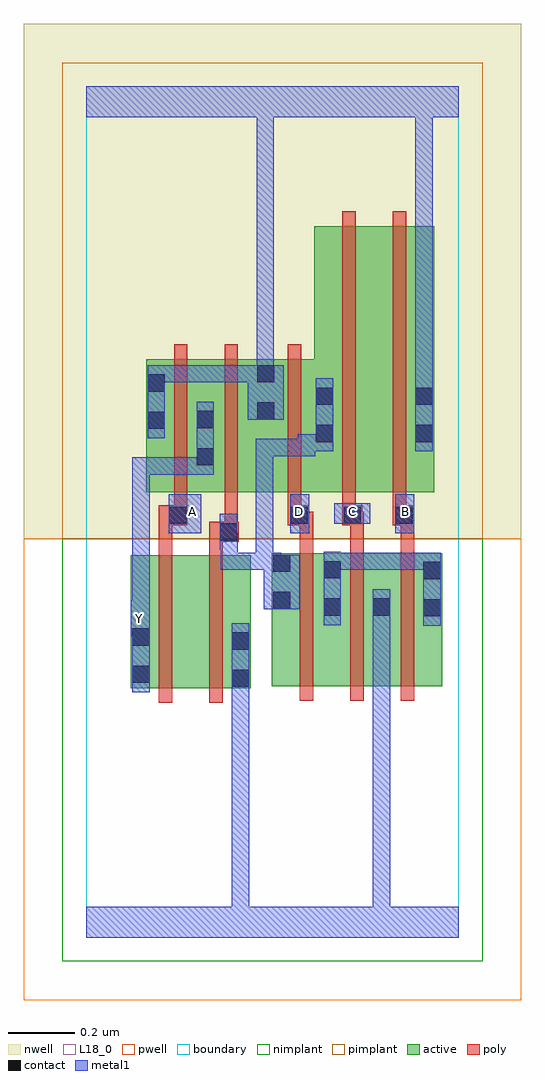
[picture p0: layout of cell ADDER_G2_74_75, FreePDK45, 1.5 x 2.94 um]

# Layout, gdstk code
import gdstk
lib = gdstk.Library(unit=1e-6, precision=1e-09)
def R(c, l, rs):  # rectangles x0, y0, x1, y1
    for r in rs: c.add(gdstk.rectangle(r[:2], r[2:], *l))
def A(c, l, x, y, w, h, nx, ny, dx, dy):  # array of equal rectangles
    R(c, l, [(x+i*dx, y+j*dy, x+i*dx+w, y+j*dy+h) for i in range(nx) for j in range(ny)])
active = (1, 0)
pwell = (2, 0)
nwell = (3, 0)
nimplant = (4, 0)
pimplant = (5, 0)
poly = (9, 0)
contact = (10, 0)
metal1 = (11, 0)
L18_0 = (18, 0)
boundary = (235, 0)

adder_g2_74_75 = lib.new_cell('ADDER_G2_74_75')
R(adder_g2_74_75, active, [(0.134,0.75,0.194,1.15), (0.134,0.75,0.314,1.15), (0.314,0.75,0.494,1.15), (0.434,0.75,0.494,1.15), (0.558,0.756,0.618,1.156), (0.558,0.756,0.77,1.156), (0.71,0.756,0.77,1.156), (0.71,0.756,0.918,1.156), (0.858,0.756,0.918,1.156), (0.858,0.756,1.07,1.156), (1.01,0.756,1.07,1.156), (0.18,1.34,0.24,1.74), (0.18,1.34,0.388,1.74), (0.328,1.34,0.57,1.74), (0.51,1.34,0.57,1.74), (0.51,1.34,0.746,1.74), (0.686,1.34,0.866,2.14), (0.686,1.34,0.746,1.888), (0.866,1.34,1.046,2.14), (0.986,1.34,1.046,2.044), (0.328,1.416,0.388,1.644)])
R(adder_g2_74_75, pwell, [(-0.188,-0.188,1.308,1.2)])
R(adder_g2_74_75, nwell, [(-0.188,1.2,1.308,2.748)])
R(adder_g2_74_75, nimplant, [(-0.072,-0.072,1.192,1.2)])
R(adder_g2_74_75, pimplant, [(-0.072,1.2,1.192,2.632)])
A(adder_g2_74_75, poly, 0.642, 0.712, 0.04, 0.488, 3, 1, 0.152, 0)
A(adder_g2_74_75, poly, 0.642, 1.16, 0.04, 0.12, 3, 1, 0.152, 0)
R(adder_g2_74_75, poly, [(0.218,0.706,0.258,1.194), (0.37,0.706,0.41,1.194), (0.218,1.154,0.258,1.28), (0.37,1.154,0.41,1.23), (0.37,1.19,0.458,1.25), (0.416,1.21,0.456,1.25), (0.416,1.21,0.456,1.25), (0.416,1.21,0.456,1.336), (0.218,1.24,0.304,1.3), (0.606,1.24,0.67,1.3), (0.63,1.24,0.67,1.28), (0.63,1.24,0.682,1.28), (0.77,1.24,0.83,1.3), (0.79,1.24,0.83,1.28), (0.79,1.24,0.834,1.28), (0.922,1.24,0.986,1.3), (0.946,1.24,0.986,1.28), (0.946,1.24,0.986,1.28), (0.264,1.26,0.304,1.336), (0.264,1.26,0.304,1.3), (0.264,1.26,0.304,1.3), (0.606,1.26,0.646,1.336), (0.77,1.26,0.81,1.336), (0.922,1.26,0.962,1.336), (0.264,1.296,0.304,1.784), (0.416,1.296,0.456,1.784), (0.606,1.296,0.646,1.784), (0.77,1.296,0.81,2.184), (0.922,1.296,0.962,2.184)])
R(adder_g2_74_75, contact, [(0.438,0.754,0.49,0.806), (0.138,0.766,0.19,0.818), (0.438,0.866,0.49,0.918), (0.138,0.878,0.19,0.93), (1.014,0.966,1.066,1.018), (0.714,0.968,0.766,1.02), (0.862,0.968,0.914,1.02), (0.562,0.988,0.614,1.04), (1.014,1.078,1.066,1.13), (0.714,1.08,0.766,1.132), (0.562,1.1,0.614,1.152), (0.402,1.194,0.454,1.246), (0.248,1.244,0.3,1.296), (0.614,1.244,0.666,1.296), (0.774,1.244,0.826,1.296), (0.93,1.244,0.982,1.296), (0.332,1.42,0.384,1.472), (0.69,1.49,0.742,1.542), (0.99,1.49,1.042,1.542), (0.184,1.53,0.236,1.582), (0.332,1.532,0.384,1.584), (0.514,1.558,0.566,1.61), (0.69,1.602,0.742,1.654), (0.99,1.602,1.042,1.654), (0.184,1.642,0.236,1.694), (0.514,1.67,0.566,1.722)])
A(adder_g2_74_75, metal1, 0.746, 1.106, 0.052, 0.052, 3, 1, 0.134, 0)
R(adder_g2_74_75, metal1, [(0,0,1.12,0.092), (0.438,0.04,0.49,0.092), (0.438,0.04,0.49,0.092), (0.438,0.04,0.49,0.092), (0.438,0.04,0.49,0.092), (0.438,0.04,0.49,0.092), (0.438,0.04,0.49,0.092), (0.438,0.04,0.49,0.778), (0.862,0.04,0.914,0.092), (0.862,0.04,0.914,0.092), (0.862,0.04,0.914,0.092), (0.862,0.04,0.914,0.092), (0.862,0.04,0.914,0.092), (0.862,0.04,0.914,0.092), (0.862,0.04,0.914,0.992), (0.438,0.726,0.49,0.778), (0.438,0.726,0.49,0.778), (0.438,0.726,0.49,0.778), (0.438,0.726,0.49,0.778), (0.438,0.726,0.49,0.778), (0.438,0.726,0.49,0.778), (0.438,0.726,0.49,0.946), (0.138,0.738,0.19,0.958), (0.134,0.906,0.19,1.014), (0.138,0.906,0.19,0.958), (1.014,0.938,1.066,1.158), (0.714,0.94,0.766,1.16), (0.862,0.94,0.914,0.992), (0.862,0.94,0.914,0.992), (0.862,0.94,0.914,0.992), (0.862,0.94,0.914,0.992), (0.862,0.94,0.914,0.992), (0.862,0.94,0.914,0.992), (0.862,0.94,0.914,1.048), (0.138,0.962,0.19,1.444), (0.534,0.988,0.642,1.152), (0.534,1.1,0.586,1.158), (0.404,1.106,0.562,1.158), (0.404,1.106,0.456,1.218), (0.51,1.106,0.562,1.5), (0.51,1.106,0.586,1.158), (0.714,1.106,0.798,1.158), (0.746,1.106,0.932,1.158), (0.88,1.106,1.066,1.158), (1.014,1.106,1.066,1.158), (0.402,1.166,0.454,1.274), (0.402,1.166,0.456,1.218), (0.248,1.216,0.346,1.334), (0.614,1.216,0.67,1.334), (0.93,1.216,0.986,1.334), (0.746,1.244,0.854,1.306), (0.138,1.392,0.19,1.444), (0.138,1.392,0.19,1.444), (0.138,1.392,0.19,1.444), (0.138,1.392,0.19,1.444), (0.138,1.392,0.19,1.444), (0.138,1.392,0.384,1.444), (0.332,1.392,0.384,1.612), (0.51,1.448,0.562,1.5), (0.51,1.448,0.562,1.5), (0.51,1.448,0.562,1.5), (0.51,1.448,0.688,1.5), (0.636,1.448,0.688,1.514), (0.636,1.462,0.742,1.514), (0.69,1.462,0.742,1.682), (0.99,1.462,1.042,1.682), (0.184,1.502,0.236,1.722), (0.486,1.558,0.594,1.722), (0.99,1.63,1.042,1.682), (0.99,1.63,1.042,1.682), (0.99,1.63,1.042,1.682), (0.99,1.63,1.042,1.682), (0.99,1.63,1.042,2.52), (0.184,1.67,0.236,1.722), (0.184,1.67,0.236,1.722), (0.184,1.67,0.346,1.722), (0.294,1.67,0.346,1.722), (0.294,1.67,0.346,1.722), (0.294,1.67,0.346,1.722), (0.294,1.67,0.538,1.722), (0.512,1.67,0.564,1.722), (0.512,1.67,0.564,1.722), (0.512,1.67,0.564,1.722), (0.512,1.67,0.564,1.722), (0.512,1.67,0.564,1.722), (0.512,1.67,0.564,1.722), (0.512,1.67,0.564,1.722), (0.512,1.67,0.564,1.722), (0.512,1.67,0.564,1.722), (0.512,1.67,0.564,1.722), (0.512,1.67,0.564,1.722), (0.512,1.67,0.564,1.722), (0.512,1.67,0.564,1.722), (0.512,1.67,0.564,1.722), (0.512,1.67,0.564,2.52), (0,2.468,1.12,2.56), (0.512,2.468,0.564,2.52), (0.512,2.468,0.564,2.52), (0.99,2.468,1.042,2.52), (0.99,2.468,1.042,2.52), (0.99,2.468,1.042,2.52), (0.99,2.468,1.042,2.52)])
A(adder_g2_74_75, L18_0, 0.614, 1.254, 0.052, 0.052, 3, 1, 0.16, 0)
R(adder_g2_74_75, L18_0, [(0,0,1.12,0.092), (0.438,0.04,0.49,0.092), (0.438,0.04,0.49,0.092), (0.438,0.04,0.49,0.092), (0.438,0.04,0.49,0.092), (0.438,0.04,0.49,0.092), (0.438,0.04,0.49,0.092), (0.438,0.04,0.49,0.778), (0.862,0.04,0.914,0.092), (0.862,0.04,0.914,0.092), (0.862,0.04,0.914,0.092), (0.862,0.04,0.914,0.092), (0.862,0.04,0.914,0.092), (0.862,0.04,0.914,0.092), (0.862,0.04,0.914,0.992), (0.438,0.726,0.49,0.946), (0.438,0.726,0.49,0.778), (0.438,0.726,0.49,0.778), (0.438,0.726,0.49,0.778), (0.438,0.726,0.49,0.778), (0.438,0.726,0.49,0.778), (0.438,0.726,0.49,0.778), (0.138,0.738,0.19,0.958), (0.134,0.906,0.19,1.014), (0.138,0.906,0.19,0.958), (0.134,0.934,0.186,0.986), (0.862,0.94,0.914,0.992), (0.862,0.94,0.914,0.992), (0.862,0.94,0.914,0.992), (0.862,0.94,0.914,0.992), (0.862,0.94,0.914,0.992), (0.862,0.94,0.914,0.992), (0.862,0.94,0.914,1.048), (0.138,0.962,0.19,1.444), (0.248,1.216,0.346,1.334), (0.614,1.216,0.67,1.334), (0.93,1.216,0.986,1.334), (0.746,1.244,0.854,1.306), (0.294,1.254,0.346,1.306), (0.138,1.392,0.19,1.444), (0.138,1.392,0.19,1.444), (0.138,1.392,0.19,1.444), (0.138,1.392,0.19,1.444), (0.138,1.392,0.19,1.444), (0.138,1.392,0.384,1.444), (0.332,1.392,0.384,1.612), (0.99,1.462,1.042,1.682), (0.184,1.502,0.236,1.722), (0.486,1.558,0.594,1.722), (0.99,1.63,1.042,1.682), (0.99,1.63,1.042,1.682), (0.99,1.63,1.042,1.682), (0.99,1.63,1.042,1.682), (0.99,1.63,1.042,2.52), (0.184,1.67,0.236,1.722), (0.184,1.67,0.236,1.722), (0.184,1.67,0.346,1.722), (0.294,1.67,0.346,1.722), (0.294,1.67,0.346,1.722), (0.294,1.67,0.346,1.722), (0.294,1.67,0.538,1.722), (0.512,1.67,0.564,1.722), (0.512,1.67,0.564,1.722), (0.512,1.67,0.564,1.722), (0.512,1.67,0.564,1.722), (0.512,1.67,0.564,1.722), (0.512,1.67,0.564,1.722), (0.512,1.67,0.564,1.722), (0.512,1.67,0.564,1.722), (0.512,1.67,0.564,1.722), (0.512,1.67,0.564,1.722), (0.512,1.67,0.564,1.722), (0.512,1.67,0.564,1.722), (0.512,1.67,0.564,1.722), (0.512,1.67,0.564,1.722), (0.512,1.67,0.564,2.52), (0,2.468,1.12,2.56), (0.512,2.468,0.564,2.52), (0.512,2.468,0.564,2.52), (0.99,2.468,1.042,2.52), (0.99,2.468,1.042,2.52), (0.99,2.468,1.042,2.52), (0.99,2.468,1.042,2.52)])
R(adder_g2_74_75, boundary, [(0,0,1.12,2.56)])
adder_g2_74_75.add(gdstk.Label('A', (0.32,1.28), layer=11, texttype=0))
adder_g2_74_75.add(gdstk.Label('B', (0.96,1.28), layer=11, texttype=0))
adder_g2_74_75.add(gdstk.Label('C', (0.8,1.28), layer=11, texttype=0))
adder_g2_74_75.add(gdstk.Label('D', (0.64,1.28), layer=11, texttype=0))
adder_g2_74_75.add(gdstk.Label('Y', (0.16,0.96), layer=11, texttype=0))

lib.write_gds('ADDER_G2_74_75.gds')
